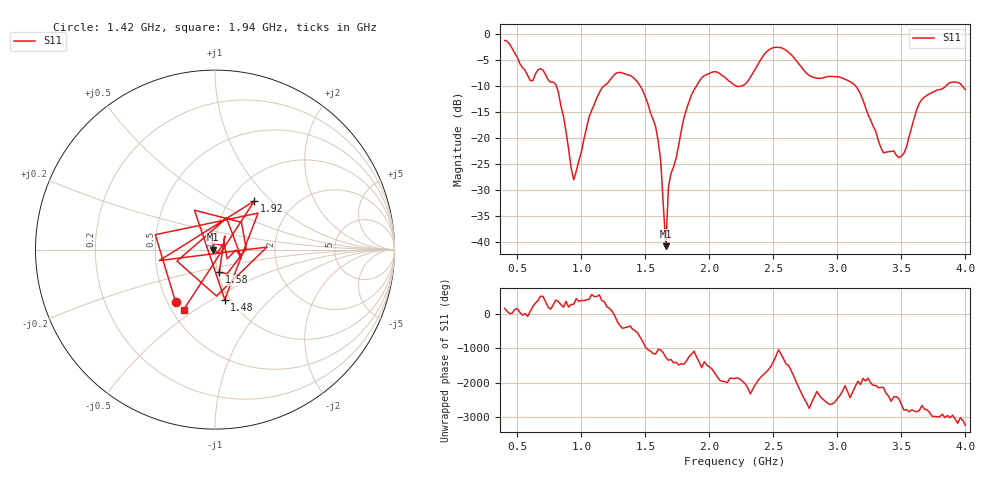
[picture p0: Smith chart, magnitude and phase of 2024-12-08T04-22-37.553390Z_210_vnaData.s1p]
!Created with skrf (http://scikit-rf.org).
# Hz S RI R 50.0
!freq ReS11 ImS11
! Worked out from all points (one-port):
!   181 points, 400 MHz to 4 GHz, reference 50 ohm
!   lowest |S11| = -40.7 dB at 1.66 GHz (marker M1), VSWR 1.02, Z = 49.1 + j0.00389 ohm
!   |S11| at or under -10 dB: 803.5 MHz to 1.177 GHz (373.1 MHz wide, 37.7 % of centre); 1.459 GHz to 1.9 GHz (440.9 MHz wide, 26.3 % of centre); 3.142 GHz to 3.849 GHz (706.9 MHz wide, 20.2 % of centre) (the widest 3 of 5)
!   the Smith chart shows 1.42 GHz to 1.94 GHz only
!   S11 on the Smith chart (normalised r, x): 1.42 GHz: 0.55, -0.37; 1.48 GHz: 0.95, -0.57; 1.58 GHz: 1.01, -0.26; 1.92 GHz: 1.29, +0.79; 1.94 GHz: 0.57, -0.45
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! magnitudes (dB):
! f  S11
! 400 MHz  -1.3
! 600 MHz  -9.0
! 680 MHz  -6.7
! 800 MHz  -9.7
! 860 MHz  -15.8
! 940 MHz  -28.0
! 1.12 GHz  -12.3
! 1.3 GHz  -7.4
! 1.42 GHz  -8.8
! 1.48 GHz  -10.9
! 1.58 GHz  -17.8
! 1.62 GHz  -24.4
! 1.66 GHz  -40.7
! 1.68 GHz  -29.4
! 1.76 GHz  -21.4
! 1.82 GHz  -14.6
! 1.92 GHz  -9.2
! 1.94 GHz  -8.5
! 2.2 GHz  -9.9
! 2.48 GHz  -2.9
! 2.66 GHz  -4.6
! 2.8 GHz  -8.3
! 3.1 GHz  -9.2
! 3.36 GHz  -22.8
! 3.5 GHz  -23.5
! 3.56 GHz  -19.7
! 3.68 GHz  -12.1
! 4 GHz  -10.7
